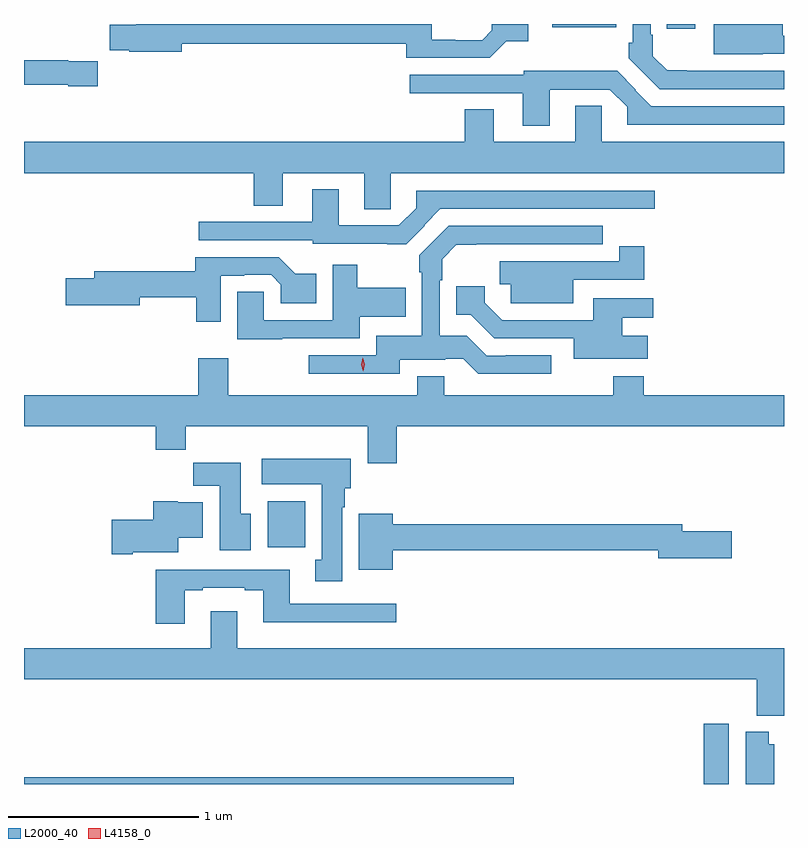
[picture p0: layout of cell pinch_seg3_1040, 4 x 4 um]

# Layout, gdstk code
import gdstk
lib = gdstk.Library(unit=1e-6, precision=1e-09)
def R(c, l, rs):  # rectangles x0, y0, x1, y1
    for r in rs: c.add(gdstk.rectangle(r[:2], r[2:], *l))
def P(c, l, *ps):  # polygons
    for p in ps: c.add(gdstk.Polygon(p, *l))
L2000_40 = (2000, 40)
L4158_0 = (4158, 0)

pinch_seg3_1040 = lib.new_cell('pinch_seg3_1040')
R(pinch_seg3_1040, L2000_40, [(314.965,742.989,317.542,743.024), (318.542,742.989,318.673,743.305), (316.247,744.236,316.444,744.478), (318.349,746.964,318.499,746.989), (317.745,746.972,318.083,746.989)])
P(pinch_seg3_1040, L2000_40, [(318.965,746.742),(318.454,746.742),(318.454,746.745),(318.35,746.745),(318.274,746.82),(318.274,746.932),(318.264,746.932),(318.264,746.989),(318.168,746.989),(318.168,746.89),(318.148,746.89),(318.148,746.809),(318.311,746.646),(318.965,746.646)],
  [(317.502,746.897),(317.62,746.897),(317.62,746.989),(317.427,746.989),(317.427,746.955),(317.376,746.904),(317.234,746.904),(317.234,746.907),(317.11,746.907),(317.11,746.989),(315.557,746.989),(315.557,746.984),(315.415,746.984),(315.415,746.85),(315.52,746.85),(315.52,746.842),(315.796,746.842),(315.796,746.884),(316.976,746.884),(316.976,746.811),(317.416,746.811)],
  [(318.854,746.832),(318.965,746.832),(318.965,746.928),(318.958,746.928),(318.958,746.989),(318.594,746.989),(318.594,746.831),(318.854,746.831)],
  [(315.353,746.792),(315.198,746.792),(315.198,746.798),(314.965,746.798),(314.965,746.67),(315.198,746.67),(315.198,746.662),(315.353,746.662)],
  [(317.731,746.643),(318.048,746.643),(318.139,746.553),(318.139,746.46),(318.965,746.46),(318.965,746.556),(318.267,746.556),(318.182,746.641),(318.185,746.644),(318.087,746.742),(317.595,746.742),(317.595,746.721),(316.995,746.721),(316.995,746.625),(317.591,746.625),(317.591,746.454),(317.731,746.454)],
  [(316.896,746.204),(318.965,746.204),(318.965,746.368),(318.006,746.368),(318.006,746.558),(317.867,746.558),(317.867,746.368),(317.437,746.368),(317.437,746.54),(317.285,746.54),(317.285,746.368),(314.965,746.368),(314.965,746.204),(316.175,746.204),(316.175,746.032),(316.327,746.032),(316.327,746.204),(316.757,746.204),(316.757,746.014),(316.896,746.014)],
  [(317.075,745.928),(317.072,745.931),(317.157,746.016),(318.286,746.016),(318.286,746.112),(317.029,746.112),(317.029,746.02),(316.938,745.929),(316.621,745.929),(316.621,746.119),(316.481,746.119),(316.481,745.947),(315.885,745.947),(315.885,745.851),(316.485,745.851),(316.485,745.833),(316.877,745.833),(316.877,745.831),(316.977,745.831)],
  [(317.74,745.245),(317.5,745.245),(317.5,745.242),(317.4,745.242),(317.295,745.347),(317.154,745.347),(317.154,745.64),(317.165,745.64),(317.165,745.752),(317.24,745.828),(317.344,745.828),(317.344,745.83),(318.01,745.83),(318.01,745.926),(317.201,745.926),(317.046,745.771),(317.046,745.682),(317.058,745.682),(317.058,745.348),(316.82,745.348),(316.82,745.245),(316.464,745.245),(316.464,745.149),(316.942,745.149),(316.942,745.223),(317.183,745.223),(317.183,745.227),(317.277,745.227),(317.356,745.148),(317.74,745.148)],
  [(317.857,745.644),(318.229,745.644),(318.229,745.819),(318.098,745.819),(318.098,745.74),(317.753,745.74),(317.753,745.741),(317.469,745.741),(317.469,745.619),(317.528,745.619),(317.528,745.52),(317.857,745.52)],
  [(316,745.665),(316.124,745.665),(316.124,745.668),(316.266,745.668),(316.317,745.617),(316.317,745.52),(316.504,745.52),(316.504,745.675),(316.392,745.675),(316.306,745.761),(315.866,745.761),(315.866,745.688),(315.335,745.688),(315.335,745.652),(315.186,745.652),(315.186,745.51),(315.574,745.51),(315.574,745.552),(315.871,745.552),(315.871,745.422),(316,745.422)],
  [(316.324,745.335),(316.732,745.335),(316.732,745.448),(316.973,745.448),(316.973,745.6),(316.719,745.6),(316.719,745.723),(316.589,745.723),(316.589,745.431),(316.227,745.431),(316.227,745.58),(316.088,745.58),(316.088,745.33),(316.324,745.33)],
  [(318.247,745.348),(318.113,745.348),(318.113,745.442),(318.277,745.442),(318.277,745.546),(317.96,745.546),(317.96,745.431),(317.481,745.431),(317.389,745.523),(317.389,745.608),(317.239,745.608),(317.239,745.46),(317.316,745.46),(317.441,745.335),(317.858,745.335),(317.858,745.226),(318.247,745.226)],
  [(315.881,745.231),(315.881,745.036),(314.965,745.036),(314.965,744.872),(315.659,744.872),(315.659,744.748),(315.815,744.748),(315.815,744.872),(316.775,744.872),(316.775,744.678),(316.928,744.678),(316.928,744.872),(318.965,744.872),(318.965,745.036),(318.227,745.036),(318.227,745.135),(318.067,745.135),(318.067,745.036),(317.176,745.036),(317.176,745.135),(317.036,745.135),(317.036,745.036),(316.041,745.036),(316.041,745.231)],
  [(316.639,744.446),(316.654,744.446),(316.654,744.546),(316.684,744.546),(316.684,744.7),(316.215,744.7),(316.215,744.566),(316.532,744.566),(316.532,744.17),(316.499,744.17),(316.499,744.057),(316.639,744.057)],
  [(316.159,744.412),(316.105,744.412),(316.105,744.679),(315.856,744.679),(315.856,744.56),(315.995,744.56),(315.995,744.219),(316.159,744.219)],
  [(315.538,744.209),(315.778,744.209),(315.778,744.284),(315.907,744.284),(315.907,744.472),(315.774,744.472),(315.774,744.478),(315.644,744.478),(315.644,744.38),(315.426,744.38),(315.426,744.197),(315.538,744.197)],
  [(316.906,744.22),(318.302,744.22),(318.302,744.178),(318.691,744.178),(318.691,744.32),(318.43,744.32),(318.43,744.356),(316.906,744.356),(316.906,744.412),(316.727,744.412),(316.727,744.116),(316.906,744.116)],
  [(315.811,744.009),(315.907,744.009),(315.907,744.021),(316.127,744.021),(316.127,744.009),(316.223,744.009),(316.223,743.84),(316.924,743.84),(316.924,743.937),(316.363,743.937),(316.363,744.117),(315.659,744.117),(315.659,743.832),(315.811,743.832)],
  [(318.821,743.348),(318.965,743.348),(318.965,743.704),(316.087,743.704),(316.087,743.899),(315.947,743.899),(315.947,743.704),(314.965,743.704),(314.965,743.54),(318.821,743.54)],
  [(318.913,743.199),(318.886,743.199),(318.886,743.263),(318.764,743.263),(318.764,742.989),(318.913,742.989)])
P(pinch_seg3_1040, L4158_0, [(316.751,745.161),(316.751,745.161),(316.74,745.196),(316.748,745.232),(316.748,745.232),(316.748,745.232),(316.759,745.197),(316.751,745.161)])

lib.write_gds('pinch_seg3_1040.gds')
